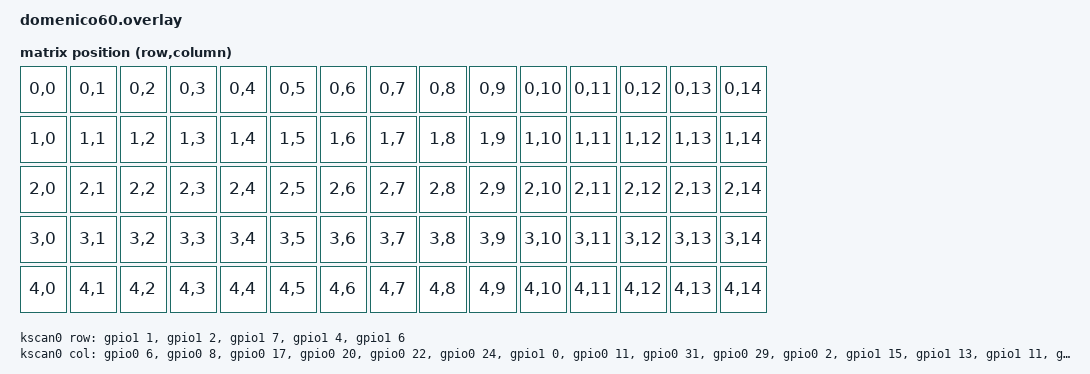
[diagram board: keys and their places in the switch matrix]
#include <dt-bindings/zmk/matrix_transform.h>
#include <zephyr/dt-bindings/gpio/gpio.h>

/ {
    chosen {
        zmk,kscan = &kscan0;
        zmk,matrix-transform = &default_transform;
    };

    /*
     * Test USB-only + NFC pins as GPIO.
     * Matrice completa 5x15.
     * Col1 spostata su P0.09-LF con ponticello.
     * Catodo diodi verso righe = col2row.
     */

    kscan0: kscan0 {
        compatible = "zmk,kscan-gpio-matrix";
        diode-direction = "col2row";
        wakeup-source;

        col-gpios
            = <&gpio0 6 GPIO_ACTIVE_HIGH>    /* col0  P0.06 */
            , <&gpio0 8 GPIO_ACTIVE_HIGH>    /* col1  P0.09-LF ponticello */
            , <&gpio0 17 GPIO_ACTIVE_HIGH>   /* col2  P0.17 */
            , <&gpio0 20 GPIO_ACTIVE_HIGH>   /* col3  P0.20 */
            , <&gpio0 22 GPIO_ACTIVE_HIGH>   /* col4  P0.22 */
            , <&gpio0 24 GPIO_ACTIVE_HIGH>   /* col5  P0.24 */
            , <&gpio1 0 GPIO_ACTIVE_HIGH>    /* col6  P1.00 */
            , <&gpio0 11 GPIO_ACTIVE_HIGH>   /* col7  P0.11 */
            , <&gpio0 31 GPIO_ACTIVE_HIGH>   /* col8  P0.31-LF */
            , <&gpio0 29 GPIO_ACTIVE_HIGH>   /* col9  P0.29-LF */
            , <&gpio0 2 GPIO_ACTIVE_HIGH>    /* col10 P0.02-LF */
            , <&gpio1 15 GPIO_ACTIVE_HIGH>   /* col11 P1.15-LF */
            , <&gpio1 13 GPIO_ACTIVE_HIGH>   /* col12 P1.13-LF */
            , <&gpio1 11 GPIO_ACTIVE_HIGH>   /* col13 P1.11-LF */
            , <&gpio0 10 GPIO_ACTIVE_HIGH>   /* col14 P0.10-LF */
            ;

        row-gpios
            = <&gpio1 1 (GPIO_ACTIVE_HIGH | GPIO_PULL_DOWN)>  /* row0 P1.01-LF */
            , <&gpio1 2 (GPIO_ACTIVE_HIGH | GPIO_PULL_DOWN)>  /* row1 P1.02-LF */
            , <&gpio1 7 (GPIO_ACTIVE_HIGH | GPIO_PULL_DOWN)>  /* row2 P1.07-LF */
            , <&gpio1 4 (GPIO_ACTIVE_HIGH | GPIO_PULL_DOWN)>  /* row3 P1.04-LF */
            , <&gpio1 6 (GPIO_ACTIVE_HIGH | GPIO_PULL_DOWN)>  /* row4 P1.06-LF */
            ;
    };

    default_transform: keymap_transform0 {
        compatible = "zmk,matrix-transform";
        columns = <15>;
        rows = <5>;

        map = <
            RC(0,0) RC(0,1) RC(0,2) RC(0,3) RC(0,4) RC(0,5) RC(0,6) RC(0,7) RC(0,8) RC(0,9) RC(0,10) RC(0,11) RC(0,12) RC(0,13) RC(0,14)
            RC(1,0) RC(1,1) RC(1,2) RC(1,3) RC(1,4) RC(1,5) RC(1,6) RC(1,7) RC(1,8) RC(1,9) RC(1,10) RC(1,11) RC(1,12) RC(1,13) RC(1,14)
            RC(2,0) RC(2,1) RC(2,2) RC(2,3) RC(2,4) RC(2,5) RC(2,6) RC(2,7) RC(2,8) RC(2,9) RC(2,10) RC(2,11) RC(2,12) RC(2,13) RC(2,14)
            RC(3,0) RC(3,1) RC(3,2) RC(3,3) RC(3,4) RC(3,5) RC(3,6) RC(3,7) RC(3,8) RC(3,9) RC(3,10) RC(3,11) RC(3,12) RC(3,13) RC(3,14)
            RC(4,0) RC(4,1) RC(4,2) RC(4,3) RC(4,4) RC(4,5) RC(4,6) RC(4,7) RC(4,8) RC(4,9) RC(4,10) RC(4,11) RC(4,12) RC(4,13) RC(4,14)
        >;
    };
};
